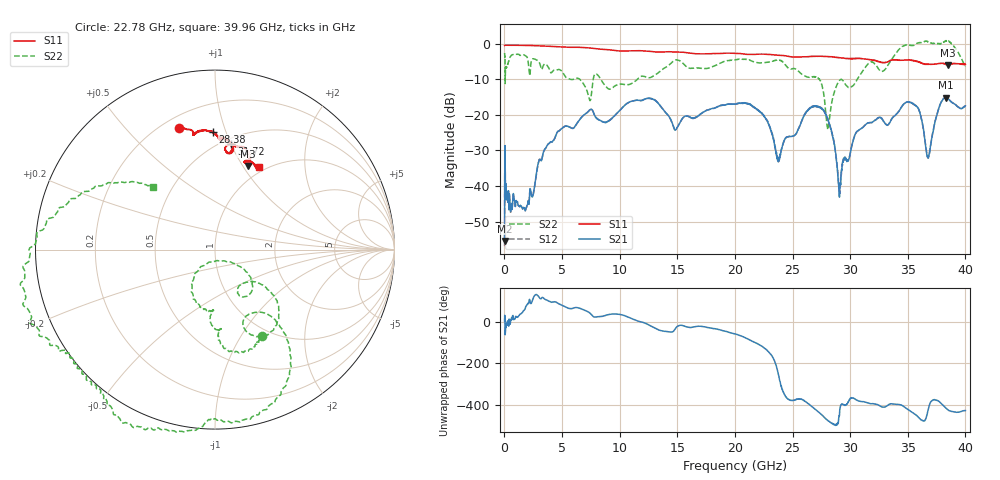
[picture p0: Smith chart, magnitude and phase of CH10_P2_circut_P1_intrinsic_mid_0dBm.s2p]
!Keysight Technologies,N5222B,MY61257109,A.17.25.03
!Date: Tuesday, July 21, 2026 11:46:44
!Correction: S11(C  2-Port  )
!S21(C  2-Port  )
!S12(C  2-Port  )
!S22(C  2-Port  )
!S2P File: Measurements: S11, S21, S12, S22:
# Hz S  dB  R 50
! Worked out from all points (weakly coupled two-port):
!   4000 points, 10 MHz to 40 GHz, reference 50 ohm
!   highest |S21| = -15.12 dB at 38.28 GHz (marker M1); lowest = -55.4 dB at 10 MHz (marker M2)
!   lowest |S11| = -6.0 dB at 38.5 GHz (marker M3), VSWR 3.01, Z = 42.5 + j52.9 ohm
!   |S11| at or under -10 dB: nowhere
!   |S22| runs from -24.1 to 0.9 dB; largest |S21 - S12| = 0.0037
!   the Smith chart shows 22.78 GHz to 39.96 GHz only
!   S11 on the Smith chart (normalised r, x): 22.78 GHz: 0.26, +0.71; 28.38 GHz: 0.39, +0.90; 31.72 GHz: 0.55, +1.01; 39.96 GHz: 0.93, +1.18
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1e7  -0.48 -179.8  -55.45 3.1  -56.94 10.3  -2.58 -47.9
6e8  -0.43 177.3  -46.32 17.8  -46.25 18.0  -3.26 167.5
1.7e9  -0.45 172.4  -46.28 55.6  -46.28 55.3  -3.13 101.6
3.61e9  -0.66 164.0  -29.17 106.3  -29.18 106.2  -5.79 44.6
6.68e9  -1.02 152.5  -20.70 62.0  -20.72 61.9  -10.51 3.7
1.334e10  -2.34 133.0  -16.76 -38.7  -16.67 -39.0  -8.16 15.4
1.485e10  -2.34 128.6  -24.27 -31.9  -24.27 -31.4  -4.56 -4.3
2.001e10  -2.69 115.2  -16.99 -59.2  -17.03 -59.3  -4.53 -38.3
2.278e10  -2.99 106.6  -21.68 -136.8  -21.43 -137.7  -5.19 -61.3
2.378e10  -3.25 103.3  -33.04 103.4  -32.50 104.7  -4.55 -74.8
2.667e10  -3.52 98.1  -17.87 -48.3  -17.85 -48.3  -9.37 -92.2
2.805e10  -3.63 92.7  -21.31 -115.2  -21.19 -115.5  -23.99 -84.7
2.838e10  -3.67 91.0  -24.77 -127.3  -24.47 -128.6  -17.01 -34.6
2.909e10  -3.96 89.2  -41.51 -70.0  -40.90 -67.7  -10.25 -47.9
3.172e10  -4.48 81.2  -22.21 -34.1  -22.19 -34.4  -5.26 -52.6
3.334e10  -4.90 84.3  -22.62 -39.2  -22.61 -39.3  -5.68 -49.4
3.562e10  -4.78 71.7  -17.21 -86.2  -17.30 -85.6  -0.28 -93.3
3.677e10  -5.77 71.3  -32.02 -64.5  -31.71 -63.6  0.48 -122.8
3.828e10  -5.79 67.9  -15.12 -54.1  -15.11 -54.3  0.72 -156.8
3.85e10  -6.00 68.3  -15.45 -65.2  -15.42 -65.2  0.73 -168.2
3.996e10  -5.65 61.8  -17.65 -67.6  -17.63 -68.0  -6.18 134.4
4e10  -5.80 63.0  -17.45 -68.0  -17.40 -68.0  -6.39 133.7
